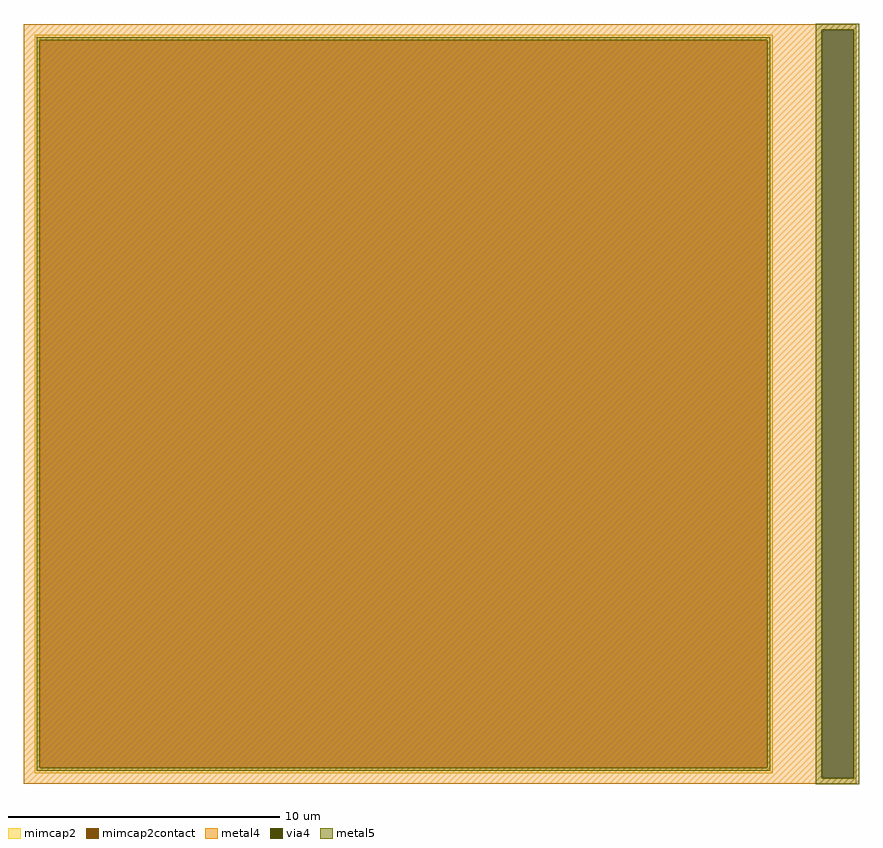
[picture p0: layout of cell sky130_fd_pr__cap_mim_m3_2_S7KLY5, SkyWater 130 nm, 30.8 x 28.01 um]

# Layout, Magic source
magic
tech sky130A
magscale 1 2
<< metal4 >>
rect -3069 2759 3069 2800
rect -3069 -2759 2813 2759
rect 3049 -2759 3069 2759
rect -3069 -2800 3069 -2759
<< via4 >>
rect 2813 -2759 3049 2759
<< mimcap2 >>
rect -2989 2680 2451 2720
rect -2989 -2680 -2949 2680
rect 2411 -2680 2451 2680
rect -2989 -2720 2451 -2680
<< mimcap2contact >>
rect -2949 -2680 2411 2680
<< metal5 >>
rect 2771 2759 3091 2801
rect -2973 2680 2435 2704
rect -2973 -2680 -2949 2680
rect 2411 -2680 2435 2680
rect -2973 -2704 2435 -2680
rect 2771 -2759 2813 2759
rect 3049 -2759 3091 2759
rect 2771 -2801 3091 -2759
<< properties >>
string FIXED_BBOX -3069 -2800 2531 2800
string gencell sky130_fd_pr__cap_mim_m3_2
string library sky130
string parameters w 27.197 l 27.196 val 1.499k carea 2.00 cperi 0.19 nx 1 ny 1 dummy 0 square 0 lmin 2.00 wmin 2.00 lmax 30.0 wmax 30.0 dc 0 bconnect 1 tconnect 1 ccov 100
<< end >>
